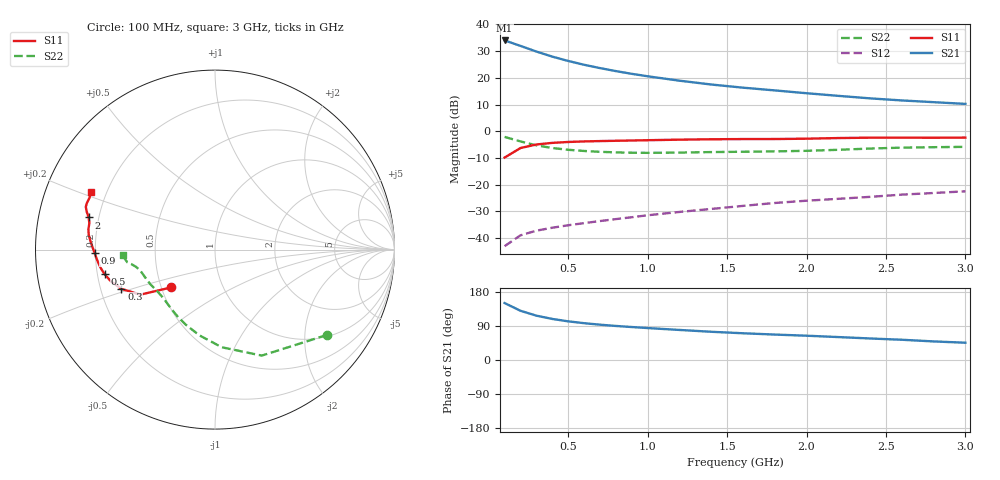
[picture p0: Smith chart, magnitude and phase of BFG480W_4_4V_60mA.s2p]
! Filename: 4_460BFG480.001
! Title: BFG480W
! Bias: Vce=4.4V; Ic=60mA
! Company: Philips Semiconductors NL
! User: Quality&Reliability T&D
! Measure time: 10 Nov 1999 / 12:06:13
#  MHz  S  MA  R 50
! Freq  S11  S21  S12  S22  :
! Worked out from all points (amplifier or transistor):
!   20 points, 100 MHz to 3 GHz, reference 50 ohm
!   highest |S21| = 34.0 dB at 100 MHz (marker M1)
!   |S21| within 3 dB of that: start of sweep to 245.4 MHz
!   unconditionally stable (mu >= 1): 882.9 MHz to end of sweep
!   at 400 MHz: K = 0.70, MSG = 32.0 dB, |S12| = -36.1 dB
!   at 1.2 GHz: K = 1.06, MAG = 23.1 dB, |S12| = -30.2 dB
!   at 3 GHz: K = 1.05, MAG = 15.0 dB, |S12| = -22.5 dB
!   S11 on the Smith chart (normalised r, x): 100 MHz: 0.56, -0.26; 300 MHz: 0.29, -0.19; 500 MHz: 0.23, -0.10; 900 MHz: 0.20, -0.01; 2 GHz: 0.16, +0.12; 3 GHz: 0.14, +0.22
100  0.3216 -139.1  50.2 150.3  0.007047 65.6  0.7839 -37.4
200  0.4857 -148.9  39.71 129.9  0.01126 57.0  0.6455 -66.2
300  0.5652 -157.2  31.09 117.0  0.01375 54.3  0.5452 -86.1
400  0.606 -163.0  25 108.3  0.01562 54.7  0.4856 -100.3
500  0.6299 -167.4  20.74 102.0  0.01736 56.2  0.4499 -110.9
600  0.6449 -170.8  17.59 97.1  0.01903 57.7  0.4275 -119.0
700  0.655 -173.7  15.24 93.2  0.02081 60.0  0.4124 -125.3
800  0.6634 -176.2  13.39 89.9  0.02265 62.2  0.4024 -130.6
900  0.6715 -178.5  11.91 87.0  0.02455 64.3  0.3964 -135.2
1000  0.6798 179.5  10.72 84.3  0.02671 65.8  0.3943 -139.4
1200  0.6962 176.0  8.861 79.3  0.03084 68.3  0.3987 -146.1
1400  0.7081 173.4  7.51 74.5  0.03506 70.0  0.4076 -151.2
1600  0.7143 170.9  6.553 70.6  0.04002 71.5  0.4135 -155.1
1800  0.7154 168.2  5.825 67.1  0.04538 72.6  0.4201 -159.0
2000  0.726 165.7  5.157 64.1  0.05008 73.7  0.4303 -163.6
2200  0.746 163.5  4.605 60.5  0.05429 74.0  0.4496 -167.6
2400  0.7585 161.6  4.132 56.8  0.05912 73.8  0.4743 -170.3
2600  0.7593 160.0  3.777 53.4  0.06506 73.4  0.4938 -171.8
2800  0.7564 157.7  3.506 49.0  0.06981 72.3  0.5032 -173.8
3000  0.7615 155.0  3.256 45.6  0.07509 71.7  0.5107 -176.8
